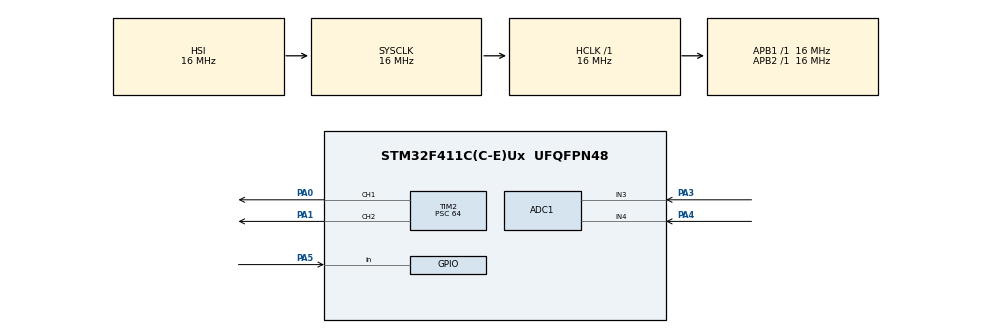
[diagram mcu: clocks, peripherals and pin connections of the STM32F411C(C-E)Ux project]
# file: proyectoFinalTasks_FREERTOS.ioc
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ADC1.Channel-0\#ChannelRegularConversion=ADC_CHANNEL_3
ADC1.Channel-1\#ChannelRegularConversion=ADC_CHANNEL_4
ADC1.ContinuousConvMode=ENABLE
ADC1.NbrOfConversion=2
ADC1.NbrOfConversionFlag=1
ADC1.Rank-0\#ChannelRegularConversion=1
ADC1.Rank-1\#ChannelRegularConversion=2
ADC1.SamplingTime-0\#ChannelRegularConversion=ADC_SAMPLETIME_480CYCLES
ADC1.SamplingTime-1\#ChannelRegularConversion=ADC_SAMPLETIME_480CYCLES
ADC1.ScanConvMode=ENABLE
ADC1.master=1
Dma.ADC1.0.Direction=DMA_PERIPH_TO_MEMORY
Dma.ADC1.0.FIFOMode=DMA_FIFOMODE_DISABLE
Dma.ADC1.0.Instance=DMA2_Stream0
Dma.ADC1.0.MemDataAlignment=DMA_MDATAALIGN_HALFWORD
Dma.ADC1.0.MemInc=DMA_MINC_ENABLE
Dma.ADC1.0.Mode=DMA_NORMAL
Dma.ADC1.0.PeriphDataAlignment=DMA_PDATAALIGN_HALFWORD
Dma.ADC1.0.PeriphInc=DMA_PINC_DISABLE
Dma.ADC1.0.Priority=DMA_PRIORITY_LOW
Dma.Request0=ADC1
FREERTOS.Tasks01=defaultTask,24,128,StartDefaultTask,Default,NULL,Dynamic,NULL,NULL;checkButtonTask,16,128,StartCheckButton,Default,NULL,Dynamic,NULL,NULL;emergencyStopTa,32,128,StartEmergencyStop,Default,NULL,Dynamic,NULL,NULL;receiveJetson,40,128,StartReceiveJetson,Default,NULL,Dynamic,NULL,NULL;transmitJetson,8,128,StartTransmitJetson,Default,NULL,Dynamic,NULL,NULL;gripperTask,25,128,StartGripper,Default,NULL,Dynamic,NULL,NULL;artTask,26,128,StartArt,Default,NULL,Dynamic,NULL,NULL;TaskADC_Gripper,8,128,StartADCGripper,Default,NULL,Dynamic,NULL,NULL;TaskADC_Art,8,128,StartADCArt,Default,NULL,Dynamic,NULL,NULL;ADC_ConversionC,8,128,StartADC_ConversionComplete,Default,NULL,Dynamic,NULL,NULL
FREERTOS.configUSE_NEWLIB_REENTRANT=1
Mcu.Family=STM32F4
Mcu.Name=STM32F411C(C-E)Ux
Mcu.Package=UFQFPN48
NVIC.ADC_IRQn=true\:5\:0\:false\:false\:true\:true\:true\:true\:true
NVIC.DMA2_Stream0_IRQn=true\:5\:0\:false\:false\:true\:true\:false\:true\:true
NVIC.PriorityGroup=NVIC_PRIORITYGROUP_4
NVIC.TIM2_IRQn=true\:5\:0\:false\:false\:true\:true\:true\:true\:true
NVIC.TIM5_IRQn=true\:15\:0\:false\:false\:true\:false\:false\:true\:true
NVIC.TimeBase=TIM5_IRQn
NVIC.TimeBaseIP=TIM5
PA0-WKUP.Signal=S_TIM2_CH1_ETR
PA1.Signal=S_TIM2_CH2
PA13.Mode=Serial_Wire
PA13.Signal=SYS_JTMS-SWDIO
PA14.Mode=Serial_Wire
PA14.Signal=SYS_JTCK-SWCLK
PA3.Signal=ADCx_IN3
PA4.Signal=ADCx_IN4
PA5.Signal=GPIO_Input
PC14-OSC32_IN.Mode=LSE-External-Oscillator
PC14-OSC32_IN.Signal=RCC_OSC32_IN
PC15-OSC32_OUT.Mode=LSE-External-Oscillator
PC15-OSC32_OUT.Signal=RCC_OSC32_OUT
PH0\ -\ OSC_IN.Mode=HSE-External-Oscillator
PH0\ -\ OSC_IN.Signal=RCC_OSC_IN
PH1\ -\ OSC_OUT.Mode=HSE-External-Oscillator
PH1\ -\ OSC_OUT.Signal=RCC_OSC_OUT
ProjectManager.HeapSize=0x200
ProjectManager.StackSize=0x400
ProjectManager.TargetToolchain=STM32CubeIDE
RCC.AHBFreq_Value=16000000
RCC.APB1Freq_Value=16000000
RCC.APB2Freq_Value=16000000
RCC.CortexFreq_Value=16000000
RCC.HSE_VALUE=25000000
RCC.HSI_VALUE=16000000
RCC.SYSCLKFreq_VALUE=16000000
RCC.VCOOutputFreq_Value=192000000
SH.ADCx_IN3.0=ADC1_IN3,IN3
SH.ADCx_IN4.0=ADC1_IN4,IN4
SH.S_TIM2_CH1_ETR.0=TIM2_CH1,PWM Generation1 CH1
SH.S_TIM2_CH2.0=TIM2_CH2,PWM Generation2 CH2
TIM2.Channel-PWM\ Generation1\ CH1=TIM_CHANNEL_1
TIM2.Channel-PWM\ Generation2\ CH2=TIM_CHANNEL_2
TIM2.Period=2499
TIM2.Prescaler=64
VP_FREERTOS_VS_CMSIS_V2.Mode=CMSIS_V2
VP_SYS_VS_tim5.Mode=TIM5
VP_TIM2_VS_ClockSourceINT.Mode=Internal
board=custom

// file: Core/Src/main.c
/* USER CODE BEGIN Header */
/**
  ******************************************************************************
  * @file           : main.c
  * @brief          : Main program body
  ******************************************************************************
  * @attention
  *
  * Copyright (c) 2023 STMicroelectronics.
  * All rights reserved.
  *
  * This software is licensed under terms that can be found in the LICENSE file
  * in the root directory of this software component.
  * If no LICENSE file comes with this software, it is provided AS-IS.
  *
  ******************************************************************************
  */
/* USER CODE END Header */
#include "main.h"
#include "cmsis_os.h"

ADC_HandleTypeDef hadc1;
DMA_HandleTypeDef hdma_adc1;

TIM_HandleTypeDef htim2;

/* Definitions for defaultTask */
osThreadId_t defaultTaskHandle;
const osThreadAttr_t defaultTask_attributes = {
  .name = "defaultTask",
  .stack_size = 128 * 4,
  .priority = (osPriority_t) osPriorityNormal,
};
/* Definitions for checkButtonTask */
osThreadId_t checkButtonTaskHandle;
const osThreadAttr_t checkButtonTask_attributes = {
  .name = "checkButtonTask",
  .stack_size = 128 * 4,
  .priority = (osPriority_t) osPriorityBelowNormal,
};
/* Definitions for emergencyStopTa */
osThreadId_t emergencyStopTaHandle;
const osThreadAttr_t emergencyStopTa_attributes = {
  .name = "emergencyStopTa",
  .stack_size = 128 * 4,
  .priority = (osPriority_t) osPriorityAboveNormal,
};
/* Definitions for receiveJetson */
osThreadId_t receiveJetsonHandle;
const osThreadAttr_t receiveJetson_attributes = {
  .name = "receiveJetson",
  .stack_size = 128 * 4,
  .priority = (osPriority_t) osPriorityHigh,
};
/* Definitions for transmitJetson */
osThreadId_t transmitJetsonHandle;
const osThreadAttr_t transmitJetson_attributes = {
  .name = "transmitJetson",
  .stack_size = 128 * 4,
  .priority = (osPriority_t) osPriorityLow,
};
/* Definitions for gripperTask */
osThreadId_t gripperTaskHandle;
const osThreadAttr_t gripperTask_attributes = {
  .name = "gripperTask",
  .stack_size = 128 * 4,
  .priority = (osPriority_t) osPriorityNormal1,
};
/* Definitions for artTask */
osThreadId_t artTaskHandle;
const osThreadAttr_t artTask_attributes = {
  .name = "artTask",
  .stack_size = 128 * 4,
  .priority = (osPriority_t) osPriorityNormal2,
};
/* Definitions for TaskADC_Gripper */
osThreadId_t TaskADC_GripperHandle;
const osThreadAttr_t TaskADC_Gripper_attributes = {
  .name = "TaskADC_Gripper",
  .stack_size = 128 * 4,
  .priority = (osPriority_t) osPriorityLow,
};
/* Definitions for TaskADC_Art */
osThreadId_t TaskADC_ArtHandle;
const osThreadAttr_t TaskADC_Art_attributes = {
  .name = "TaskADC_Art",
  .stack_size = 128 * 4,
  .priority = (osPriority_t) osPriorityLow,
};
/* Definitions for ADC_ConversionC */
osThreadId_t ADC_ConversionCHandle;
const osThreadAttr_t ADC_ConversionC_attributes = {
  .name = "ADC_ConversionC",
  .stack_size = 128 * 4,
  .priority = (osPriority_t) osPriorityLow,
};
/* USER CODE BEGIN PV */
uint16_t adcGripper, adcArt, task_adcGripper, task_adcArt;
int pwmGripper = 0, pwmArt = 0;
volatile uint16_t adcVal[2];

int gripperOpen = 70, gripperClose = 123, artUp = 197, artDown = 83;
int comm[2];
int gripperFlag = 0, artFlag = 0, stopFlag = 0;
int gripperOK = 0, artOK = 0, stopOK = 0, objectHeld = 0;
int okFlags[4];
int check = 0;
int cont = 0;

/* USER CODE END PV */

void SystemClock_Config(void);
static void MX_GPIO_Init(void);
static void MX_DMA_Init(void);
static void MX_ADC1_Init(void);
static void MX_TIM2_Init(void);
void StartDefaultTask(void *argument);
void StartCheckButton(void *argument);
void StartEmergencyStop(void *argument);
void StartReceiveJetson(void *argument);
void StartTransmitJetson(void *argument);
void StartGripper(void *argument);
void StartArt(void *argument);
void StartADCGripper(void *argument);
void StartADCArt(void *argument);
void StartADC_ConversionComplete(void *argument);

/* USER CODE BEGIN PFP */
void write(void);
void read(void);

/* USER CODE END PFP */

int main(void)
{

  /* MCU Configuration--------------------------------------------------------*/

  /* Reset of all peripherals, Initializes the Flash interface and the Systick. */
  HAL_Init();

  /* Configure the system clock */
  SystemClock_Config();

  /* Initialize all configured peripherals */
  MX_GPIO_Init();
  MX_DMA_Init();
  MX_ADC1_Init();
  MX_TIM2_Init();
  /* USER CODE BEGIN 2 */
  HAL_TIM_PWM_Start(&htim2,TIM_CHANNEL_1);
  HAL_TIM_PWM_Start(&htim2,TIM_CHANNEL_2);

  /* USER CODE END 2 */

  /* Init scheduler */
  osKernelInitialize();

  /* Create the thread(s) */
  /* creation of defaultTask */
  defaultTaskHandle = osThreadNew(StartDefaultTask, NULL, &defaultTask_attributes);

  /* creation of checkButtonTask */
  checkButtonTaskHandle = osThreadNew(StartCheckButton, NULL, &checkButtonTask_attributes);

  /* creation of emergencyStopTa */
  emergencyStopTaHandle = osThreadNew(StartEmergencyStop, NULL, &emergencyStopTa_attributes);

  /* creation of receiveJetson */
  receiveJetsonHandle = osThreadNew(StartReceiveJetson, NULL, &receiveJetson_attributes);

  /* creation of transmitJetson */
  transmitJetsonHandle = osThreadNew(StartTransmitJetson, NULL, &transmitJetson_attributes);

  /* creation of gripperTask */
  gripperTaskHandle = osThreadNew(StartGripper, NULL, &gripperTask_attributes);

  /* creation of artTask */
  artTaskHandle = osThreadNew(StartArt, NULL, &artTask_attributes);

  /* creation of TaskADC_Gripper */
  TaskADC_GripperHandle = osThreadNew(StartADCGripper, NULL, &TaskADC_Gripper_attributes);

  /* creation of TaskADC_Art */
  TaskADC_ArtHandle = osThreadNew(StartADCArt, NULL, &TaskADC_Art_attributes);

  /* creation of ADC_ConversionC */
  ADC_ConversionCHandle = osThreadNew(StartADC_ConversionComplete, NULL, &ADC_ConversionC_attributes);

  /* Start scheduler */
  osKernelStart();
  /* We should never get here as control is now taken by the scheduler */
  /* Infinite loop */
  while (1)
  {

  }
}

void SystemClock_Config(void)
{
  RCC_OscInitTypeDef RCC_OscInitStruct = {0};
  RCC_ClkInitTypeDef RCC_ClkInitStruct = {0};

  /** Configure the main internal regulator output voltage
  */
  __HAL_RCC_PWR_CLK_ENABLE();
  __HAL_PWR_VOLTAGESCALING_CONFIG(PWR_REGULATOR_VOLTAGE_SCALE1);

  /** Initializes the RCC Oscillators according to the specified parameters
  * in the RCC_OscInitTypeDef structure.
  */
  RCC_OscInitStruct.OscillatorType = RCC_OSCILLATORTYPE_HSI;
  RCC_OscInitStruct.HSIState = RCC_HSI_ON;
  RCC_OscInitStruct.HSICalibrationValue = RCC_HSICALIBRATION_DEFAULT;
  RCC_OscInitStruct.PLL.PLLState = RCC_PLL_NONE;
  if (HAL_RCC_OscConfig(&RCC_OscInitStruct) != HAL_OK)
  {
    Error_Handler();
  }

  /** Initializes the CPU, AHB and APB buses clocks
  */
  RCC_ClkInitStruct.ClockType = RCC_CLOCKTYPE_HCLK|RCC_CLOCKTYPE_SYSCLK
                              |RCC_CLOCKTYPE_PCLK1|RCC_CLOCKTYPE_PCLK2;
  RCC_ClkInitStruct.SYSCLKSource = RCC_SYSCLKSOURCE_HSI;
  RCC_ClkInitStruct.AHBCLKDivider = RCC_SYSCLK_DIV1;
  RCC_ClkInitStruct.APB1CLKDivider = RCC_HCLK_DIV1;
  RCC_ClkInitStruct.APB2CLKDivider = RCC_HCLK_DIV1;

  if (HAL_RCC_ClockConfig(&RCC_ClkInitStruct, FLASH_LATENCY_0) != HAL_OK)
  {
    Error_Handler();
  }
}

static void MX_ADC1_Init(void)
{

  ADC_ChannelConfTypeDef sConfig = {0};

  /** Configure the global features of the ADC (Clock, Resolution, Data Alignment and number of conversion)
  */
  hadc1.Instance = ADC1;
  hadc1.Init.ClockPrescaler = ADC_CLOCK_SYNC_PCLK_DIV2;
  hadc1.Init.Resolution = ADC_RESOLUTION_12B;
  hadc1.Init.ScanConvMode = ENABLE;
  hadc1.Init.ContinuousConvMode = ENABLE;
  hadc1.Init.DiscontinuousConvMode = DISABLE;
  hadc1.Init.ExternalTrigConvEdge = ADC_EXTERNALTRIGCONVEDGE_NONE;
  hadc1.Init.ExternalTrigConv = ADC_SOFTWARE_START;
  hadc1.Init.DataAlign = ADC_DATAALIGN_RIGHT;
  hadc1.Init.NbrOfConversion = 2;
  hadc1.Init.DMAContinuousRequests = DISABLE;
  hadc1.Init.EOCSelection = ADC_EOC_SINGLE_CONV;
  if (HAL_ADC_Init(&hadc1) != HAL_OK)
  {
    Error_Handler();
  }

  /** Configure for the selected ADC regular channel its corresponding rank in the sequencer and its sample time.
  */
  sConfig.Channel = ADC_CHANNEL_3;
  sConfig.Rank = 1;
  sConfig.SamplingTime = ADC_SAMPLETIME_480CYCLES;
  if (HAL_ADC_ConfigChannel(&hadc1, &sConfig) != HAL_OK)
  {
    Error_Handler();
  }

  /** Configure for the selected ADC regular channel its corresponding rank in the sequencer and its sample time.
  */
  sConfig.Channel = ADC_CHANNEL_4;
  sConfig.Rank = 2;
  if (HAL_ADC_ConfigChannel(&hadc1, &sConfig) != HAL_OK)
  {
    Error_Handler();
  }

}

static void MX_TIM2_Init(void)
{

  TIM_ClockConfigTypeDef sClockSourceConfig = {0};
  TIM_MasterConfigTypeDef sMasterConfig = {0};
  TIM_OC_InitTypeDef sConfigOC = {0};

  htim2.Instance = TIM2;
  htim2.Init.Prescaler = 64;
  htim2.Init.CounterMode = TIM_COUNTERMODE_UP;
  htim2.Init.Period = 2499;
  htim2.Init.ClockDivision = TIM_CLOCKDIVISION_DIV1;
  htim2.Init.AutoReloadPreload = TIM_AUTORELOAD_PRELOAD_DISABLE;
  if (HAL_TIM_Base_Init(&htim2) != HAL_OK)
  {
    Error_Handler();
  }
  sClockSourceConfig.ClockSource = TIM_CLOCKSOURCE_INTERNAL;
  if (HAL_TIM_ConfigClockSource(&htim2, &sClockSourceConfig) != HAL_OK)
  {
    Error_Handler();
  }
  if (HAL_TIM_PWM_Init(&htim2) != HAL_OK)
  {
    Error_Handler();
  }
  sMasterConfig.MasterOutputTrigger = TIM_TRGO_RESET;
  sMasterConfig.MasterSlaveMode = TIM_MASTERSLAVEMODE_DISABLE;
  if (HAL_TIMEx_MasterConfigSynchronization(&htim2, &sMasterConfig) != HAL_OK)
  {
    Error_Handler();
  }
  sConfigOC.OCMode = TIM_OCMODE_PWM1;
  sConfigOC.Pulse = 0;
  sConfigOC.OCPolarity = TIM_OCPOLARITY_HIGH;
  sConfigOC.OCFastMode = TIM_OCFAST_DISABLE;
  if (HAL_TIM_PWM_ConfigChannel(&htim2, &sConfigOC, TIM_CHANNEL_1) != HAL_OK)
  {
    Error_Handler();
  }
  if (HAL_TIM_PWM_ConfigChannel(&htim2, &sConfigOC, TIM_CHANNEL_2) != HAL_OK)
  {
    Error_Handler();
  }
  HAL_TIM_MspPostInit(&htim2);

}

static void MX_DMA_Init(void)
{

  /* DMA controller clock enable */
  __HAL_RCC_DMA2_CLK_ENABLE();

  /* DMA interrupt init */
  /* DMA2_Stream0_IRQn interrupt configuration */
  HAL_NVIC_SetPriority(DMA2_Stream0_IRQn, 5, 0);
  HAL_NVIC_EnableIRQ(DMA2_Stream0_IRQn);

}

static void MX_GPIO_Init(void)
{
  GPIO_InitTypeDef GPIO_InitStruct = {0};

  /* GPIO Ports Clock Enable */
  __HAL_RCC_GPIOC_CLK_ENABLE();
  __HAL_RCC_GPIOH_CLK_ENABLE();
  __HAL_RCC_GPIOA_CLK_ENABLE();

  /*Configure GPIO pin : PA5 */
  GPIO_InitStruct.Pin = GPIO_PIN_5;
  GPIO_InitStruct.Mode = GPIO_MODE_INPUT;
  GPIO_InitStruct.Pull = GPIO_NOPULL;
  HAL_GPIO_Init(GPIOA, &GPIO_InitStruct);

}

/* USER CODE BEGIN 4 */
void HAL_ADC_ConvCpltCallback(ADC_HandleTypeDef* hadc){
	adcGripper = adcVal[0];
	adcArt = adcVal[1];
}

void write() {
    gripperOK = okFlags[0];
    artOK = okFlags[1];
    objectHeld = okFlags[2];
    stopOK = okFlags[3];
}

void read() {
    comm[0] = 1;
    comm[1] = 2;
}
/* USER CODE END 4 */

void StartDefaultTask(void *argument)
{
  for(;;)
  {
    osDelay(1);
  }
}

void StartCheckButton(void *argument)
{
  /* USER CODE BEGIN StartCheckButton */
  /* Infinite loop */
  for(;;)
  {
	  if(HAL_GPIO_ReadPin(GPIOA, GPIO_PIN_5) == GPIO_PIN_RESET){
	 		  objectHeld = 0;
	 	  }
	 	  else{
	 		  objectHeld = 1;
	 	  }
	     osDelay(1);

  }
  /* USER CODE END StartCheckButton */
}

void StartEmergencyStop(void *argument)
{
  /* USER CODE BEGIN StartEmergencyStop */
  /* Infinite loop */
  for(;;)
  {
	  if(stopFlag == 1){
		  gripperFlag = 0;
		  artFlag = 0;
		  stopFlag = 0;
	  }
    osDelay(1);
  }
  /* USER CODE END StartEmergencyStop */
}

void StartReceiveJetson(void *argument)
{
  /* USER CODE BEGIN StartReceiveJetson */
  /* Infinite loop */
  for(;;)
  {
//	  for (int i = 0; i < 2; i++) {
//	      comm[i] = read();
//	  }
	  if (cont == 0)
	  {
		  read();
		  cont = 1;
	  }
	  switch (comm[0]){
		case 1:
			if (comm[1]==1)
			{
				gripperFlag = 1;
			}
			else if (comm[1]==2)
			{
				gripperFlag = 2;
			}
			else
			{
				gripperFlag = 0;
			}
			break;
		case 2:
			if (comm[1]==1)
			{
				artFlag = 1;
			}
			else if (comm[1]==2)
			{
				artFlag = 2;
			}
			else
			{
				artFlag = 0;
			}
			break;
		case 3:
			stopFlag = 1;
			break;
		default:
			gripperFlag = 0;
			artFlag = 0;
			stopFlag = 0;
	  }
	  osDelay(2000);
	  comm[0] = 0;
	  comm[1] = 0;
    osDelay(1);
  }
  /* USER CODE END StartReceiveJetson */
}

void StartTransmitJetson(void *argument)
{
  /* USER CODE BEGIN StartTransmitJetson */
  /* Infinite loop */
  for(;;)
  {
	  if (gripperOK == 1)
	  {
		  okFlags[0]= gripperOK;
		  write();
		  gripperFlag = 0;
		  gripperOK = 0;
	  }
	  else
	  {
		  okFlags[0]= 0;
		  write();
		  gripperFlag = 0;
	  }
	  if (artOK == 1)
	  {
	  	  okFlags[1]= artOK;
	  	  write();
		  artFlag = 0;
	  	  artOK = 0;
	  }
	  else
	  {
		  okFlags[0]= 0;
		  write();
		  artFlag = 0;
	  }
	  if (objectHeld == 1)
	  {
	  	  okFlags[2]= objectHeld;
	  	  write();
	  }
	  else
	  {
		  okFlags[2]= 0;
		  write();
	  }
	  if (stopOK == 1)
	  {
	  	  okFlags[3]= stopOK;
	  	  write();
	  	  stopOK = 0;
	  }
	  else
	  {
	  	  okFlags[3]= 0;
	      write();
	  }
    osDelay(20);
  }
  /* USER CODE END StartTransmitJetson */
}

void StartGripper(void *argument)
{
  /* USER CODE BEGIN StartGripper */
  /* Infinite loop */
	for(;;)
	  {
		  if(gripperFlag == 1)
		  {
	        while (TIM2->CCR1 < gripperOpen)
	        {
			  TIM2->CCR1 += 2;
	          osDelay(50);
	        }
			  osDelay(500);
			  //gripperFlag = 0;
			  gripperOK = 1;
		  }
	      else if(gripperFlag == 2)
		  {
	        while (TIM2->CCR1 > gripperOpen)
	        {
			  TIM2->CCR1 -= 2;
	          osDelay(50);
	        }
			  osDelay(500);
			  //gripperFlag = 0;
			  gripperOK = 1;
		  }
	    osDelay(100);
	  }
  /* USER CODE END StartGripper */
}

void StartArt(void *argument)
{
  /* USER CODE BEGIN StartArt */
  /* Infinite loop */
  for(;;)
  {
	  if(artFlag == 1)
	  	  {
	  		  TIM2->CCR2 = artUp;
	  		  osDelay(50);
	  		  //artFlag = 0;
	  		  artOK = 1;
	  	  }
	 else if (artFlag == 2)
	  	  {
	  		  TIM2->CCR2 = artDown;
	  		  osDelay(50);
	  		  //artFlag = 0;
	  		  artOK = 1;
	  	  }
	 osDelay(1);
  }
  /* USER CODE END StartArt */
}

void StartADCGripper(void *argument)
{
  /* USER CODE BEGIN StartADCGripper */
  /* Infinite loop */
  for(;;)
  {
	  task_adcGripper = adcGripper;
	 	      osDelay(100);

  }
  /* USER CODE END StartADCGripper */
}

void StartADCArt(void *argument)
{
  /* USER CODE BEGIN StartADCArt */
  /* Infinite loop */
  for(;;)
  {
	  task_adcArt = adcArt;
	 	    osDelay(200);
  }
  /* USER CODE END StartADCArt */
}

void StartADC_ConversionComplete(void *argument)
{
  /* USER CODE BEGIN StartADC_ConversionComplete */
  /* Infinite loop */
  for(;;)
  {
	  HAL_ADC_Start_DMA(&hadc1,(uint32_t*) adcVal, 2);
	 	      osDelay(100);

  }
  /* USER CODE END StartADC_ConversionComplete */
}

void HAL_TIM_PeriodElapsedCallback(TIM_HandleTypeDef *htim)
{
  if (htim->Instance == TIM5) {
    HAL_IncTick();
  }
}

void Error_Handler(void)
{
  __disable_irq();
  while (1)
  {
  }
}
